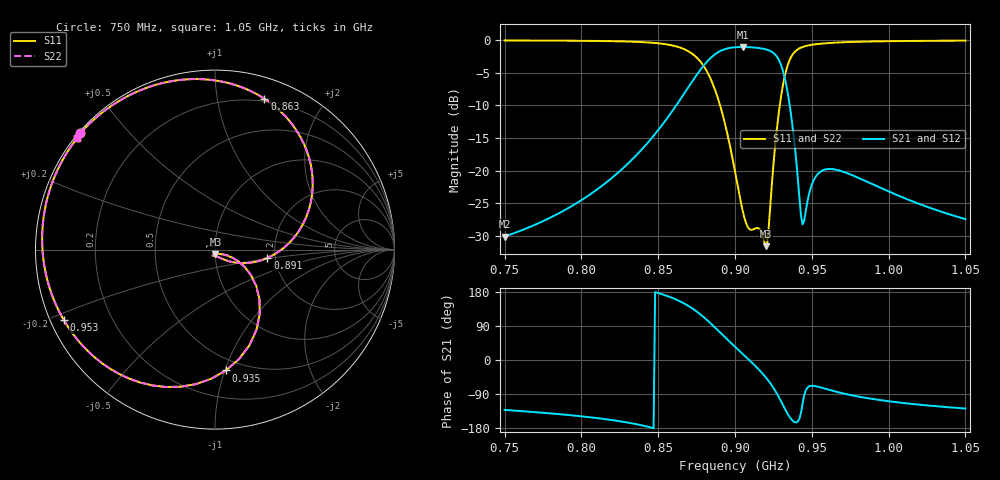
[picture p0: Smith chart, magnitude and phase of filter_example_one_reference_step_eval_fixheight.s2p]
! Sonnet Data File
! From: em Version : 19.52.2025
! From Project: filter_example_one_reference_step_eval_fixheight
! Data is De-embedded
! Data File Written: 04/27/2026 18:56:38
!< HDATE 04/27/2026 18:37:58
!< MDATE 04/27/2026 18:37:58
!< PARAMS
!< W_outer_pair_gui = 12
!< W_mid_res_gui = 23
!< G_adj_gui = 1.15
!< G_cross_gui = 1.8
!< P_feed_gui = 4.6
!< W_feed_gui = 1.1
!< G_mid_open_gui = 1.2
!< G_outer_open_gui = 1.1
!< END PARAMS
# GHZ S MA R 50.00000
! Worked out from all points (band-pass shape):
!   301 points, 750 MHz to 1.05 GHz, reference 50 ohm
!   highest |S21| = -1.08 dB at 905 MHz (marker M1); lowest = -30.1 dB at 750 MHz (marker M2)
!   |S21| within 3 dB of the highest: 879.1 MHz to 930.3 MHz (51.25 MHz wide, 5.66 % of centre)
!   lowest |S11| = -31.6 dB at 920 MHz (marker M3), VSWR 1.05, Z = 50.2 - j2.63 ohm
!   |S11| at or under -10 dB: 890.3 MHz to 929.2 MHz (38.9 MHz wide, 4.28 % of centre)
!   |S22| runs from -31.6 to -0.1 dB; largest |S21 - S12| = 1e-13
!   S11 on the Smith chart (normalised r, x): 750 MHz: 0.00, +0.37; 863 MHz: 0.18, +1.36; 891 MHz: 1.81, -0.18; 935 MHz: 0.41, -1.01; 953 MHz: 0.04, -0.22; 1.05 GHz: 0.01, +0.35
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0.75  0.9917 139.1  0.03122 -131.7  0.03122 -131.7  0.9917 139.1
0.8  0.9858 123.0  0.05928 -148.6  0.05928 -148.6  0.9858 123.0
0.85  0.9435 90.3  0.2041 176.6  0.2041 176.6  0.9434 90.3
0.863  0.8846 71.9  0.3317 157.0  0.3317 157.0  0.8846 71.9
0.878  0.6706 35.8  0.6023 118.6  0.6023 118.6  0.6706 35.8
0.885  0.4773 12.3  0.7442 93.4  0.7442 93.4  0.4772 12.3
0.891  0.2953 -9.1  0.8294 69.8  0.8294 69.8  0.2952 -9.1
0.9  0.09857 -40.5  0.8795 35.0  0.8795 35.0  0.09855 -40.5
0.905  0.04916 -62.4  0.8836 16.2  0.8836 16.2  0.04915 -62.4
0.913  0.03593 -105.4  0.8742 -14.8  0.8742 -14.8  0.03592 -105.4
0.92  0.02633 -84.9  0.8476 -45.7  0.8476 -45.7  0.02632 -84.8
0.922  0.03726 -41.8  0.8329 -55.9  0.8329 -55.9  0.03726 -41.8
0.927  0.1942 -30.6  0.7529 -86.6  0.7529 -86.6  0.1942 -30.6
0.931  0.4365 -55.2  0.5923 -117.1  0.5923 -117.1  0.4365 -55.2
0.935  0.676 -84.9  0.3521 -146.9  0.3521 -146.9  0.676 -84.9
0.939  0.8129 -109.6  0.1503 -164.3  0.1503 -164.3  0.8128 -109.6
0.944  0.8842 -131.3  0.03866 -115.2  0.03866 -115.2  0.8842 -131.3
0.95  0.919 -148.4  0.07786 -68.0  0.07786 -68.0  0.919 -148.4
0.953  0.9293 -154.9  0.09125 -69.5  0.09125 -69.5  0.9292 -154.9
0.973  0.9632 178.3  0.09546 -90.6  0.09546 -90.6  0.9631 178.3
1  0.9792 159.8  0.0691 -108.8  0.0691 -108.8  0.9791 159.8
1.05  0.9882 141.0  0.0424 -128.1  0.0424 -128.1  0.9882 141.0
